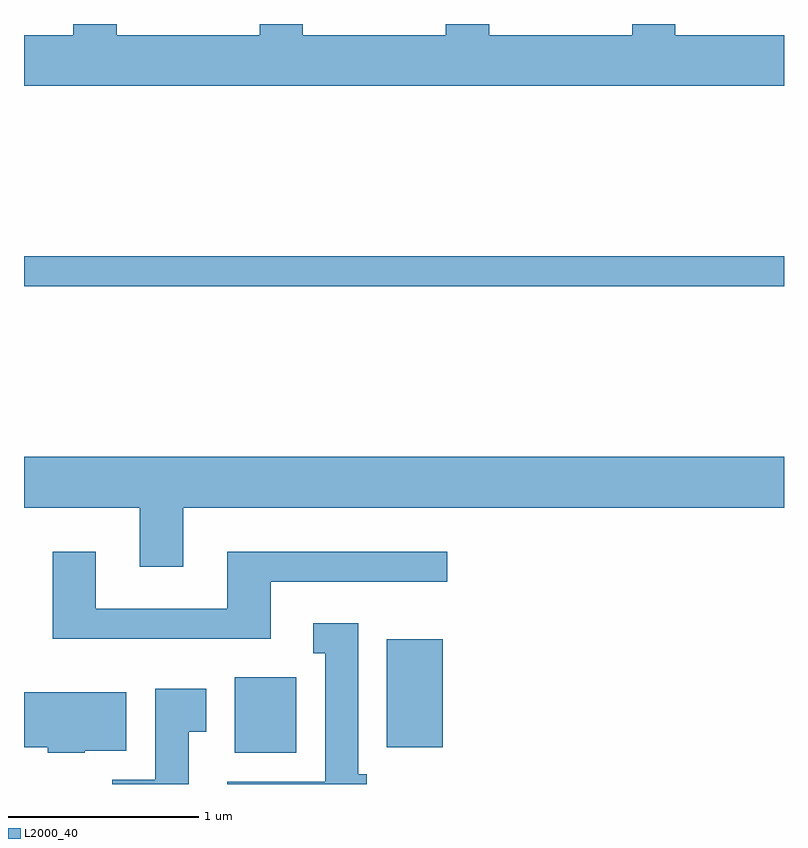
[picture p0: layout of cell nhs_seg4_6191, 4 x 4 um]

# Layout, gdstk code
import gdstk
lib = gdstk.Library(unit=1e-6, precision=1e-09)
def R(c, l, rs):  # rectangles x0, y0, x1, y1
    for r in rs: c.add(gdstk.rectangle(r[:2], r[2:], *l))
def P(c, l, *ps):  # polygons
    for p in ps: c.add(gdstk.Polygon(p, *l))
L2000_40 = (2000, 40)

nhs_seg4_6191 = lib.new_cell('nhs_seg4_6191')
R(nhs_seg4_6191, L2000_40, [(368.721,1260.146,369.044,1260.544), (369.521,1260.176,369.814,1260.744), (367.611,1262.601,371.611,1262.759)])
P(nhs_seg4_6191, L2000_40, [(371.611,1263.924),(371.039,1263.924),(371.039,1263.982),(370.811,1263.982),(370.811,1263.924),(370.059,1263.924),(370.059,1263.982),(369.831,1263.982),(369.831,1263.924),(369.079,1263.924),(369.079,1263.982),(368.851,1263.982),(368.851,1263.924),(368.099,1263.924),(368.099,1263.982),(367.871,1263.982),(367.871,1263.924),(367.611,1263.924),(367.611,1263.656),(371.611,1263.656)],
  [(367.611,1261.436),(368.221,1261.436),(368.221,1261.126),(368.449,1261.126),(368.449,1261.436),(371.611,1261.436),(371.611,1261.704),(367.611,1261.704)],
  [(368.909,1261.046),(369.838,1261.046),(369.838,1261.204),(368.681,1261.204),(368.681,1260.904),(367.989,1260.904),(367.989,1261.204),(367.761,1261.204),(367.761,1260.746),(368.909,1260.746)],
  [(369.414,1260.034),(369.369,1260.034),(369.369,1260.829),(369.133,1260.829),(369.133,1260.671),(369.196,1260.671),(369.196,1259.994),(368.681,1259.994),(368.681,1259.982),(369.414,1259.982)],
  [(368.479,1260.256),(368.569,1260.256),(368.569,1260.484),(368.301,1260.484),(368.301,1260.004),(368.076,1260.004),(368.076,1259.982),(368.479,1259.982)],
  [(367.93,1260.156),(368.149,1260.156),(368.149,1260.464),(367.611,1260.464),(367.611,1260.176),(367.736,1260.176),(367.736,1260.146),(367.93,1260.146)])

lib.write_gds('nhs_seg4_6191.gds')
